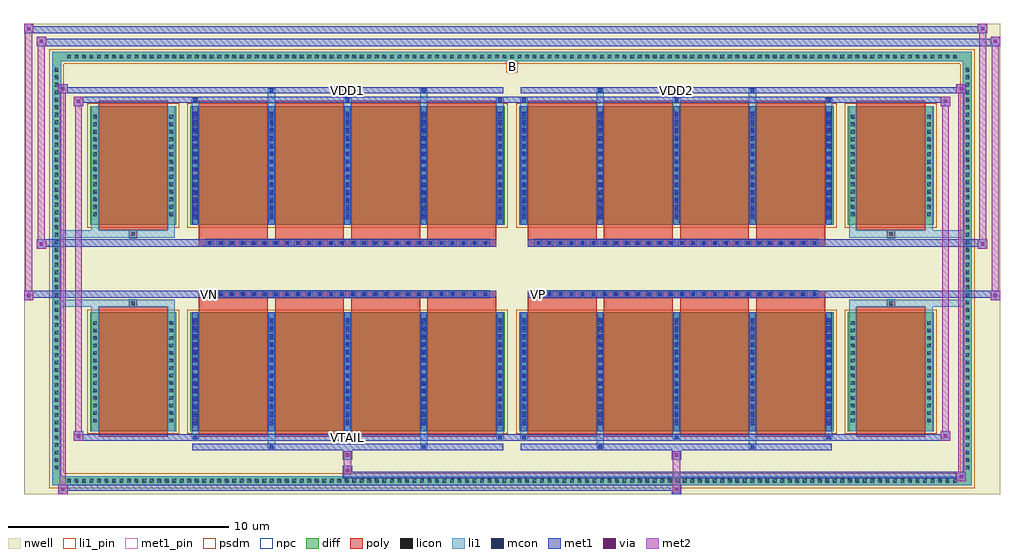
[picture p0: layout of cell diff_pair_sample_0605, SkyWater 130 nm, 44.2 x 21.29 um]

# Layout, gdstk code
import gdstk
lib = gdstk.Library(unit=1e-6, precision=5e-09)
def R(c, l, rs):  # rectangles x0, y0, x1, y1
    for r in rs: c.add(gdstk.rectangle(r[:2], r[2:], *l))
def A(c, l, x, y, w, h, nx, ny, dx, dy):  # array of equal rectangles
    R(c, l, [(x+i*dx, y+j*dy, x+i*dx+w, y+j*dy+h) for i in range(nx) for j in range(ny)])
def P(c, l, *ps):  # polygons
    for p in ps: c.add(gdstk.Polygon(p, *l))
nwell = (64, 20)
diff = (65, 20)
poly = (66, 20)
licon = (66, 44)
li1_pin = (67, 16)
li1 = (67, 20)
mcon = (67, 44)
met1_pin = (68, 16)
met1 = (68, 20)
via = (68, 44)
met2 = (69, 20)
psdm = (94, 20)
npc = (95, 20)

diff_pair_sample_0605 = lib.new_cell('diff_pair_sample_0605')
R(diff_pair_sample_0605, nwell, [(-22.1,-10.21,22.1,11.08), (-19.42,-8.4,-0.01,-0.8), (0.01,-8.4,19.42,-0.8), (-19.42,0.8,-0.01,8.4), (0.01,0.8,19.42,8.4)])
A(diff_pair_sample_0605, diff, -20.265, -9.81, 0.41, 0.41, 119, 2, 0.34, 19.21)
A(diff_pair_sample_0605, diff, -20.83, -9.215, 0.41, 0.41, 1, 54, 0, 0.34)
A(diff_pair_sample_0605, diff, 20.42, -9.215, 0.41, 0.41, 1, 54, 0, 0.34)
R(diff_pair_sample_0605, diff, [(-20.265,-9.81,20.265,-9.4), (-20.83,-9.215,-20.42,9.215), (20.42,-9.215,20.83,9.215), (-19.11,-7.355,-15.21,-1.985), (-14.57,-7.355,-0.32,-1.985), (0.32,-7.355,14.57,-1.985), (15.21,-7.355,19.11,-1.985), (-19.11,1.985,-15.21,7.355), (-14.57,1.985,-0.32,7.355), (0.32,1.985,14.57,7.355), (15.21,1.985,19.11,7.355), (-20.265,9.4,20.265,9.81)])
P(diff_pair_sample_0605, diff, [(20.83,9.81),(-20.83,9.81),(-20.83,-9.4),(-20.42,-9.4),(-20.42,9.4),(20.42,9.4),(20.42,-9.4),(-20.42,-9.4),(-20.83,-9.4),(-20.83,-9.81),(20.83,-9.81)])
A(diff_pair_sample_0605, poly, -14.18, -7.605, 3.12, 5.87, 4, 2, 3.45, 9.34)
A(diff_pair_sample_0605, poly, 0.71, -7.605, 3.12, 5.87, 4, 2, 3.45, 9.34)
A(diff_pair_sample_0605, poly, -14.18, -1.735, 3.12, 0.405, 4, 2, 3.45, 3.065)
A(diff_pair_sample_0605, poly, 0.71, -1.735, 3.12, 0.405, 4, 2, 3.45, 3.065)
A(diff_pair_sample_0605, poly, -13.86, -1.33, 0.33, 0.33, 26, 2, 0.5, 2.33)
A(diff_pair_sample_0605, poly, 1.03, -1.33, 0.33, 0.33, 26, 2, 0.5, 2.33)
R(diff_pair_sample_0605, poly, [(-18.72,-7.605,-15.6,-1.735), (15.6,-7.605,18.72,-1.735), (-17.325,-1.735,-16.995,-1.405), (-17.325,-1.735,-16.995,-1.405), (16.995,-1.735,17.325,-1.405), (16.995,-1.735,17.325,-1.405), (-14.18,-1.33,-0.71,-1), (0.71,-1.33,14.18,-1), (-14.18,1,-0.71,1.33), (0.71,1,14.18,1.33), (-17.325,1.405,-16.995,1.735), (-17.325,1.405,-16.995,1.735), (16.995,1.405,17.325,1.735), (16.995,1.405,17.325,1.735), (-18.72,1.735,-15.6,7.605), (15.6,1.735,18.72,7.605)])
A(diff_pair_sample_0605, licon, -20.145, -9.69, 0.17, 0.17, 119, 2, 0.34, 19.21)
A(diff_pair_sample_0605, licon, -20.71, -9.095, 0.17, 0.17, 1, 54, 0, 0.34)
A(diff_pair_sample_0605, licon, 20.54, -9.095, 0.17, 0.17, 1, 54, 0, 0.34)
A(diff_pair_sample_0605, licon, -18.97, -6.965, 0.17, 0.17, 1, 14, 0, 0.34)
A(diff_pair_sample_0605, licon, -15.52, -6.965, 0.17, 0.17, 1, 14, 0, 0.34)
A(diff_pair_sample_0605, licon, -14.43, -6.965, 0.17, 0.17, 5, 14, 3.45, 0.34)
A(diff_pair_sample_0605, licon, 0.46, -6.965, 0.17, 0.17, 5, 14, 3.45, 0.34)
A(diff_pair_sample_0605, licon, 15.35, -6.965, 0.17, 0.17, 1, 14, 0, 0.34)
A(diff_pair_sample_0605, licon, 18.8, -6.965, 0.17, 0.17, 1, 14, 0, 0.34)
A(diff_pair_sample_0605, licon, -13.78, -1.25, 0.17, 0.17, 26, 2, 0.5, 2.33)
A(diff_pair_sample_0605, licon, 1.11, -1.25, 0.17, 0.17, 26, 2, 0.5, 2.33)
A(diff_pair_sample_0605, licon, -18.97, 2.375, 0.17, 0.17, 1, 14, 0, 0.34)
A(diff_pair_sample_0605, licon, -15.52, 2.375, 0.17, 0.17, 1, 14, 0, 0.34)
A(diff_pair_sample_0605, licon, -14.43, 2.375, 0.17, 0.17, 5, 14, 3.45, 0.34)
A(diff_pair_sample_0605, licon, 0.46, 2.375, 0.17, 0.17, 5, 14, 3.45, 0.34)
A(diff_pair_sample_0605, licon, 15.35, 2.375, 0.17, 0.17, 1, 14, 0, 0.34)
A(diff_pair_sample_0605, licon, 18.8, 2.375, 0.17, 0.17, 1, 14, 0, 0.34)
R(diff_pair_sample_0605, licon, [(-17.245,-1.655,-17.075,-1.485), (17.075,-1.655,17.245,-1.485), (-17.245,1.485,-17.075,1.655), (17.075,1.485,17.245,1.655)])
R(diff_pair_sample_0605, li1_pin, [(-0.25,8.9,0.25,9.4)])
A(diff_pair_sample_0605, li1, -20.225, -9.77, 0.33, 0.33, 119, 2, 0.34, 19.21)
A(diff_pair_sample_0605, li1, -20.79, -9.175, 0.33, 0.33, 1, 54, 0, 0.34)
A(diff_pair_sample_0605, li1, 20.46, -9.175, 0.33, 0.33, 1, 54, 0, 0.34)
A(diff_pair_sample_0605, li1, -14.51, -7.73, 0.33, 0.375, 3, 2, 6.9, 15.085)
A(diff_pair_sample_0605, li1, -14.43, -7.73, 0.17, 0.17, 3, 2, 6.9, 15.29)
A(diff_pair_sample_0605, li1, 0.38, -7.73, 0.33, 0.375, 3, 2, 6.9, 15.085)
A(diff_pair_sample_0605, li1, 0.46, -7.73, 0.17, 0.17, 3, 2, 6.9, 15.29)
A(diff_pair_sample_0605, li1, -14.51, -7.355, 0.33, 5.37, 5, 2, 3.45, 9.34)
A(diff_pair_sample_0605, li1, 0.38, -7.355, 0.33, 5.37, 5, 2, 3.45, 9.34)
A(diff_pair_sample_0605, li1, -14.43, -7.095, 0.17, 0.17, 5, 14, 3.45, 0.36)
A(diff_pair_sample_0605, li1, -14.43, -7.095, 0.17, 4.85, 5, 2, 3.45, 9.34)
A(diff_pair_sample_0605, li1, 0.46, -7.095, 0.17, 0.17, 5, 14, 3.45, 0.36)
A(diff_pair_sample_0605, li1, 0.46, -7.095, 0.17, 4.85, 5, 2, 3.45, 9.34)
A(diff_pair_sample_0605, li1, -19.05, -7.045, 0.33, 0.33, 1, 14, 0, 0.34)
A(diff_pair_sample_0605, li1, -15.6, -7.045, 0.33, 0.33, 1, 14, 0, 0.34)
A(diff_pair_sample_0605, li1, -14.51, -7.045, 0.33, 0.33, 5, 14, 3.45, 0.34)
A(diff_pair_sample_0605, li1, 0.38, -7.045, 0.33, 0.33, 5, 14, 3.45, 0.34)
A(diff_pair_sample_0605, li1, 15.27, -7.045, 0.33, 0.33, 1, 14, 0, 0.34)
A(diff_pair_sample_0605, li1, 18.72, -7.045, 0.33, 0.33, 1, 14, 0, 0.34)
A(diff_pair_sample_0605, li1, -13.86, -1.33, 0.33, 0.33, 26, 2, 0.5, 2.33)
A(diff_pair_sample_0605, li1, 1.03, -1.33, 0.33, 0.33, 26, 2, 0.5, 2.33)
A(diff_pair_sample_0605, li1, -14.43, 2.245, 0.17, 0.17, 5, 14, 3.45, 0.36)
A(diff_pair_sample_0605, li1, 0.46, 2.245, 0.17, 0.17, 5, 14, 3.45, 0.36)
A(diff_pair_sample_0605, li1, -19.05, 2.295, 0.33, 0.33, 1, 14, 0, 0.34)
A(diff_pair_sample_0605, li1, -15.6, 2.295, 0.33, 0.33, 1, 14, 0, 0.34)
A(diff_pair_sample_0605, li1, -14.51, 2.295, 0.33, 0.33, 5, 14, 3.45, 0.34)
A(diff_pair_sample_0605, li1, 0.38, 2.295, 0.33, 0.33, 5, 14, 3.45, 0.34)
A(diff_pair_sample_0605, li1, 15.27, 2.295, 0.33, 0.33, 1, 14, 0, 0.34)
A(diff_pair_sample_0605, li1, 18.72, 2.295, 0.33, 0.33, 1, 14, 0, 0.34)
R(diff_pair_sample_0605, li1, [(-20.83,-9.81,-20.42,-9.4), (-20.83,-9.81,-20.42,-9.4), (-20.42,-9.81,20.42,-9.4), (20.42,-9.81,20.83,-9.4), (20.42,-9.81,20.83,-9.4), (-20.83,-9.4,-20.42,9.4), (20.42,-9.4,20.83,9.4), (-11.06,-8.16,-10.73,-7.355), (-10.98,-8.16,-10.81,-7.99), (-4.16,-8.16,-3.83,-7.355), (-4.08,-8.16,-3.91,-7.99), (3.83,-8.16,4.16,-7.355), (3.91,-8.16,4.08,-7.99), (10.73,-8.16,11.06,-7.355), (10.81,-8.16,10.98,-7.99), (-19.05,-7.355,-18.72,-1.985), (-15.6,-7.355,-15.27,-1.985), (15.27,-7.355,15.6,-1.985), (18.72,-7.355,19.05,-1.985), (-19.05,-1.985,-18.72,-1.405), (-15.6,-1.985,-15.27,-1.405), (15.27,-1.985,15.6,-1.405), (18.72,-1.985,19.05,-1.405), (-20.83,-1.735,-17.325,-1.405), (-19.05,-1.735,-17.325,-1.405), (-17.325,-1.735,-16.995,-1.405), (-16.995,-1.735,-15.27,-1.405), (15.27,-1.735,16.995,-1.405), (16.995,-1.735,17.325,-1.405), (16.995,-1.735,20.83,-1.405), (17.325,-1.735,19.05,-1.405), (-20.83,1.405,-17.325,1.735), (-19.05,1.405,-17.325,1.735), (-19.05,1.405,-18.72,1.985), (-17.325,1.405,-16.995,1.735), (-16.995,1.405,-15.27,1.735), (-15.6,1.405,-15.27,1.985), (15.27,1.405,16.995,1.735), (15.27,1.405,15.6,1.985), (16.995,1.405,17.325,1.735), (16.995,1.405,20.83,1.735), (17.325,1.405,19.05,1.735), (18.72,1.405,19.05,1.985), (-19.05,1.985,-18.72,7.355), (-15.6,1.985,-15.27,7.355), (15.27,1.985,15.6,7.355), (18.72,1.985,19.05,7.355), (-11.06,7.355,-10.73,8.16), (-4.16,7.355,-3.83,8.16), (3.83,7.355,4.16,8.16), (10.73,7.355,11.06,8.16), (-10.98,7.99,-10.81,8.16), (-4.08,7.99,-3.91,8.16), (3.91,7.99,4.08,8.16), (10.81,7.99,10.98,8.16), (-20.83,9.4,-20.42,9.81), (-20.83,9.4,-20.42,9.81), (-20.42,9.4,20.42,9.81), (20.42,9.4,20.83,9.81), (20.42,9.4,20.83,9.81)])
A(diff_pair_sample_0605, mcon, -14.43, -7.73, 0.17, 0.17, 3, 2, 6.9, 15.29)
A(diff_pair_sample_0605, mcon, 0.46, -7.73, 0.17, 0.17, 3, 2, 6.9, 15.29)
A(diff_pair_sample_0605, mcon, -14.43, -7.095, 0.17, 0.17, 5, 14, 3.45, 0.36)
A(diff_pair_sample_0605, mcon, 0.46, -7.095, 0.17, 0.17, 5, 14, 3.45, 0.36)
A(diff_pair_sample_0605, mcon, -13.78, -1.25, 0.17, 0.17, 26, 2, 0.5, 2.33)
A(diff_pair_sample_0605, mcon, 1.11, -1.25, 0.17, 0.17, 26, 2, 0.5, 2.33)
A(diff_pair_sample_0605, mcon, -14.43, 2.245, 0.17, 0.17, 5, 14, 3.45, 0.36)
A(diff_pair_sample_0605, mcon, 0.46, 2.245, 0.17, 0.17, 5, 14, 3.45, 0.36)
R(diff_pair_sample_0605, mcon, [(-10.98,-8.16,-10.81,-7.99), (-4.08,-8.16,-3.91,-7.99), (3.91,-8.16,4.08,-7.99), (10.81,-8.16,10.98,-7.99), (-10.98,7.99,-10.81,8.16), (-4.08,7.99,-3.91,8.16), (3.91,7.99,4.08,8.16), (10.81,7.99,10.98,8.16)])
R(diff_pair_sample_0605, met1_pin, [(-7.58,-7.77,-7.31,-7.5), (-13.83,-1.29,-13.56,-1.02), (1.06,-1.29,1.33,-1.02), (-7.58,7.95,-7.31,8.22), (7.31,7.95,7.58,8.22)])
A(diff_pair_sample_0605, met1, -14.49, -7.79, 0.29, 0.29, 3, 2, 6.9, 15.29)
A(diff_pair_sample_0605, met1, 0.4, -7.79, 0.29, 0.29, 3, 2, 6.9, 15.29)
A(diff_pair_sample_0605, met1, -14.49, -7.355, 0.29, 5.37, 5, 2, 3.45, 9.34)
A(diff_pair_sample_0605, met1, 0.4, -7.355, 0.29, 5.37, 5, 2, 3.45, 9.34)
A(diff_pair_sample_0605, met1, -14.49, -7.155, 0.29, 0.29, 5, 14, 3.45, 0.36)
A(diff_pair_sample_0605, met1, 0.4, -7.155, 0.29, 0.29, 5, 14, 3.45, 0.36)
A(diff_pair_sample_0605, met1, -13.84, -1.31, 0.29, 0.29, 26, 2, 0.5, 2.33)
A(diff_pair_sample_0605, met1, 1.05, -1.31, 0.29, 0.29, 26, 2, 0.5, 2.33)
A(diff_pair_sample_0605, met1, -14.49, 2.185, 0.29, 0.29, 5, 14, 3.45, 0.36)
A(diff_pair_sample_0605, met1, 0.4, 2.185, 0.29, 0.29, 5, 14, 3.45, 0.36)
R(diff_pair_sample_0605, met1, [(-20.56,-10.21,-20.13,-9.78), (7.23,-10.21,7.66,-9.78), (-20.56,-10.07,7.66,-9.78), (20.13,-9.64,20.56,-9.21), (-7.66,-9.5,20.56,-9.21), (-7.66,-9.36,-7.23,-8.93), (-7.66,-8.65,-7.23,-8.22), (7.23,-8.65,7.66,-8.22), (-14.49,-8.22,-0.4,-7.93), (-11.04,-8.22,-10.75,-7.93), (-4.14,-8.22,-3.85,-7.93), (0.4,-8.22,14.49,-7.93), (3.85,-8.22,4.14,-7.93), (10.75,-8.22,11.04,-7.93), (-19.85,-7.79,-19.42,-7.36), (-19.85,-7.79,-14.49,-7.5), (-14.49,-7.79,-0.4,-7.5), (-0.4,-7.79,0.4,-7.5), (0.4,-7.79,14.49,-7.5), (14.49,-7.79,19.85,-7.5), (19.42,-7.79,19.85,-7.36), (-22.1,-1.43,-21.67,-1), (21.67,-1.43,22.1,-1), (-22.1,-1.33,-0.71,-1), (-14.18,-1.33,-0.71,-1), (0.71,-1.33,14.18,-1), (0.71,-1.33,22.1,-1), (-21.53,0.9,-21.1,1.33), (21.1,0.9,21.53,1.33), (-21.53,1,-14.18,1.33), (-14.18,1,-0.71,1.33), (0.71,1,14.18,1.33), (14.18,1,21.53,1.33), (-19.85,7.36,-19.42,7.79), (19.42,7.36,19.85,7.79), (-19.85,7.5,-14.49,7.79), (-14.49,7.5,-0.4,7.79), (-0.4,7.5,0.4,7.79), (0.4,7.5,14.49,7.79), (14.49,7.5,19.85,7.79), (-20.56,7.93,-20.13,8.36), (-20.56,7.93,-14.49,8.22), (-14.49,7.93,-0.4,8.22), (-11.04,7.93,-10.75,8.22), (-4.14,7.93,-3.85,8.22), (0.4,7.93,14.49,8.22), (3.85,7.93,4.14,8.22), (10.75,7.93,11.04,8.22), (14.49,7.93,20.56,8.22), (20.13,7.93,20.56,8.36), (-21.53,10.08,-21.1,10.51), (-21.53,10.08,-19.42,10.41), (-19.42,10.08,19.42,10.41), (19.42,10.08,22.1,10.41), (21.67,10.08,22.1,10.51), (-22.1,10.65,-21.67,11.08), (-22.1,10.65,-19.42,10.98), (-19.42,10.65,19.42,10.98), (19.42,10.65,21.53,10.98), (21.1,10.65,21.53,11.08)])
R(diff_pair_sample_0605, via, [(-20.42,-10.07,-20.27,-9.92), (7.37,-10.07,7.52,-9.92), (20.27,-9.5,20.42,-9.35), (-7.52,-9.22,-7.37,-9.07), (-7.52,-8.51,-7.37,-8.36), (7.37,-8.51,7.52,-8.36), (-19.71,-7.65,-19.56,-7.5), (19.56,-7.65,19.71,-7.5), (-21.96,-1.29,-21.81,-1.14), (21.81,-1.29,21.96,-1.14), (-21.39,1.04,-21.24,1.19), (21.24,1.04,21.39,1.19), (-19.71,7.5,-19.56,7.65), (19.56,7.5,19.71,7.65), (-20.42,8.07,-20.27,8.22), (20.27,8.07,20.42,8.22), (-21.39,10.22,-21.24,10.37), (21.81,10.22,21.96,10.37), (-21.96,10.79,-21.81,10.94), (21.24,10.79,21.39,10.94)])
R(diff_pair_sample_0605, met2, [(-20.56,-10.21,-20.13,-9.78), (-20.49,-10.21,-20.2,8.36), (-20.2,-10.21,-20.13,-9.78), (-20.51,-10.16,-20.18,-9.83), (7.28,-10.16,7.61,-9.83), (7.28,-9.83,7.61,-8.6), (20.13,-9.64,20.56,-9.21), (20.2,-9.64,20.49,8.36), (20.49,-9.64,20.56,-9.21), (20.18,-9.59,20.51,-9.26), (-7.61,-9.31,-7.28,-8.98), (-7.61,-8.98,-7.28,-8.6), (-7.61,-8.6,-7.28,-8.27), (7.28,-8.6,7.61,-8.27), (-19.85,-7.79,-19.42,-7.36), (-19.78,-7.79,-19.49,7.79), (-19.49,-7.79,-19.42,-7.36), (19.42,-7.79,19.85,-7.36), (19.49,-7.79,19.78,7.79), (19.78,-7.79,19.85,-7.36), (-19.8,-7.74,-19.47,-7.41), (19.47,-7.74,19.8,-7.41), (-22.1,-1.43,-21.67,-1), (-22.05,-1.43,-21.72,11.08), (-21.72,-1.43,-21.67,-1), (21.67,-1.43,22.1,-1), (21.72,-1.43,22.05,10.51), (22.05,-1.43,22.1,-1), (-22.05,-1.38,-21.72,-1.05), (21.72,-1.38,22.05,-1.05), (-21.53,0.9,-21.1,1.33), (-21.48,0.9,-21.15,10.51), (-21.15,0.9,-21.1,1.33), (21.1,0.9,21.53,1.33), (21.15,0.9,21.48,11.08), (21.48,0.9,21.53,1.33), (-21.48,0.95,-21.15,1.28), (21.15,0.95,21.48,1.28), (-19.85,7.36,-19.42,7.79), (-19.49,7.36,-19.42,7.79), (19.42,7.36,19.85,7.79), (19.78,7.36,19.85,7.79), (-19.8,7.41,-19.47,7.74), (19.47,7.41,19.8,7.74), (-20.56,7.93,-20.13,8.36), (-20.2,7.93,-20.13,8.36), (20.13,7.93,20.56,8.36), (20.49,7.93,20.56,8.36), (-20.51,7.98,-20.18,8.31), (20.18,7.98,20.51,8.31), (-21.53,10.08,-21.1,10.51), (-21.15,10.08,-21.1,10.51), (21.67,10.08,22.1,10.51), (22.05,10.08,22.1,10.51), (-21.48,10.13,-21.15,10.46), (21.72,10.13,22.05,10.46), (-22.1,10.65,-21.67,11.08), (-21.72,10.65,-21.67,11.08), (21.1,10.65,21.53,11.08), (21.48,10.65,21.53,11.08), (-22.05,10.7,-21.72,11.03), (21.15,10.7,21.48,11.03)])
R(diff_pair_sample_0605, psdm, [(-19.24,-7.485,-15.08,-1.855), (-14.7,-7.485,-0.19,-1.855), (0.19,-7.485,14.7,-1.855), (15.08,-7.485,19.24,-1.855), (-19.24,1.855,-15.08,7.485), (-14.7,1.855,-0.19,7.485), (0.19,1.855,14.7,7.485), (15.08,1.855,19.24,7.485)])
P(diff_pair_sample_0605, psdm, [(20.96,9.94),(-20.96,9.94),(-20.96,-9.27),(-20.29,-9.27),(-20.29,9.27),(20.29,9.27),(20.29,-9.27),(-20.29,-9.27),(-20.96,-9.27),(-20.96,-9.94),(20.96,-9.94)])
A(diff_pair_sample_0605, npc, -13.88, -1.35, 0.37, 0.37, 26, 2, 0.5, 2.33)
A(diff_pair_sample_0605, npc, 1.01, -1.35, 0.37, 0.37, 26, 2, 0.5, 2.33)
R(diff_pair_sample_0605, npc, [(-17.345,-1.755,-16.975,-1.385), (16.975,-1.755,17.345,-1.385), (-13.88,-1.35,-13.01,-0.98), (-13.88,-1.35,-13.01,-0.98), (-13.38,-1.35,-12.51,-0.98), (-13.38,-1.35,-12.51,-0.98), (-12.88,-1.35,-12.01,-0.98), (-12.88,-1.35,-12.01,-0.98), (-12.38,-1.35,-11.51,-0.98), (-12.38,-1.35,-11.51,-0.98), (-11.88,-1.35,-11.01,-0.98), (-11.88,-1.35,-11.01,-0.98), (-11.38,-1.35,-10.51,-0.98), (-11.38,-1.35,-10.51,-0.98), (-10.88,-1.35,-10.01,-0.98), (-10.88,-1.35,-10.01,-0.98), (-10.38,-1.35,-9.51,-0.98), (-10.38,-1.35,-9.51,-0.98), (-9.88,-1.35,-9.01,-0.98), (-9.88,-1.35,-9.01,-0.98), (-9.38,-1.35,-8.51,-0.98), (-9.38,-1.35,-8.51,-0.98), (-8.88,-1.35,-8.01,-0.98), (-8.88,-1.35,-8.01,-0.98), (-8.38,-1.35,-7.51,-0.98), (-8.38,-1.35,-7.51,-0.98), (-7.88,-1.35,-7.01,-0.98), (-7.88,-1.35,-7.01,-0.98), (-7.38,-1.35,-6.51,-0.98), (-7.38,-1.35,-6.51,-0.98), (-6.88,-1.35,-6.01,-0.98), (-6.88,-1.35,-6.01,-0.98), (-6.38,-1.35,-5.51,-0.98), (-6.38,-1.35,-5.51,-0.98), (-5.88,-1.35,-5.01,-0.98), (-5.88,-1.35,-5.01,-0.98), (-5.38,-1.35,-4.51,-0.98), (-5.38,-1.35,-4.51,-0.98), (-4.88,-1.35,-4.01,-0.98), (-4.88,-1.35,-4.01,-0.98), (-4.38,-1.35,-3.51,-0.98), (-4.38,-1.35,-3.51,-0.98), (-3.88,-1.35,-3.01,-0.98), (-3.88,-1.35,-3.01,-0.98), (-3.38,-1.35,-2.51,-0.98), (-3.38,-1.35,-2.51,-0.98), (-2.88,-1.35,-2.01,-0.98), (-2.88,-1.35,-2.01,-0.98), (-2.38,-1.35,-1.51,-0.98), (-2.38,-1.35,-1.51,-0.98), (-1.88,-1.35,-1.01,-0.98), (-1.88,-1.35,-1.01,-0.98), (1.01,-1.35,1.88,-0.98), (1.01,-1.35,1.88,-0.98), (1.51,-1.35,2.38,-0.98), (1.51,-1.35,2.38,-0.98), (2.01,-1.35,2.88,-0.98), (2.01,-1.35,2.88,-0.98), (2.51,-1.35,3.38,-0.98), (2.51,-1.35,3.38,-0.98), (3.01,-1.35,3.88,-0.98), (3.01,-1.35,3.88,-0.98), (3.51,-1.35,4.38,-0.98), (3.51,-1.35,4.38,-0.98), (4.01,-1.35,4.88,-0.98), (4.01,-1.35,4.88,-0.98), (4.51,-1.35,5.38,-0.98), (4.51,-1.35,5.38,-0.98), (5.01,-1.35,5.88,-0.98), (5.01,-1.35,5.88,-0.98), (5.51,-1.35,6.38,-0.98), (5.51,-1.35,6.38,-0.98), (6.01,-1.35,6.88,-0.98), (6.01,-1.35,6.88,-0.98), (6.51,-1.35,7.38,-0.98), (6.51,-1.35,7.38,-0.98), (7.01,-1.35,7.88,-0.98), (7.01,-1.35,7.88,-0.98), (7.51,-1.35,8.38,-0.98), (7.51,-1.35,8.38,-0.98), (8.01,-1.35,8.88,-0.98), (8.01,-1.35,8.88,-0.98), (8.51,-1.35,9.38,-0.98), (8.51,-1.35,9.38,-0.98), (9.01,-1.35,9.88,-0.98), (9.01,-1.35,9.88,-0.98), (9.51,-1.35,10.38,-0.98), (9.51,-1.35,10.38,-0.98), (10.01,-1.35,10.88,-0.98), (10.01,-1.35,10.88,-0.98), (10.51,-1.35,11.38,-0.98), (10.51,-1.35,11.38,-0.98), (11.01,-1.35,11.88,-0.98), (11.01,-1.35,11.88,-0.98), (11.51,-1.35,12.38,-0.98), (11.51,-1.35,12.38,-0.98), (12.01,-1.35,12.88,-0.98), (12.01,-1.35,12.88,-0.98), (12.51,-1.35,13.38,-0.98), (12.51,-1.35,13.38,-0.98), (13.01,-1.35,13.88,-0.98), (13.01,-1.35,13.88,-0.98), (-13.88,0.98,-13.01,1.35), (-13.88,0.98,-13.01,1.35), (-13.38,0.98,-12.51,1.35), (-13.38,0.98,-12.51,1.35), (-12.88,0.98,-12.01,1.35), (-12.88,0.98,-12.01,1.35), (-12.38,0.98,-11.51,1.35), (-12.38,0.98,-11.51,1.35), (-11.88,0.98,-11.01,1.35), (-11.88,0.98,-11.01,1.35), (-11.38,0.98,-10.51,1.35), (-11.38,0.98,-10.51,1.35), (-10.88,0.98,-10.01,1.35), (-10.88,0.98,-10.01,1.35), (-10.38,0.98,-9.51,1.35), (-10.38,0.98,-9.51,1.35), (-9.88,0.98,-9.01,1.35), (-9.88,0.98,-9.01,1.35), (-9.38,0.98,-8.51,1.35), (-9.38,0.98,-8.51,1.35), (-8.88,0.98,-8.01,1.35), (-8.88,0.98,-8.01,1.35), (-8.38,0.98,-7.51,1.35), (-8.38,0.98,-7.51,1.35), (-7.88,0.98,-7.01,1.35), (-7.88,0.98,-7.01,1.35), (-7.38,0.98,-6.51,1.35), (-7.38,0.98,-6.51,1.35), (-6.88,0.98,-6.01,1.35), (-6.88,0.98,-6.01,1.35), (-6.38,0.98,-5.51,1.35), (-6.38,0.98,-5.51,1.35), (-5.88,0.98,-5.01,1.35), (-5.88,0.98,-5.01,1.35), (-5.38,0.98,-4.51,1.35), (-5.38,0.98,-4.51,1.35), (-4.88,0.98,-4.01,1.35), (-4.88,0.98,-4.01,1.35), (-4.38,0.98,-3.51,1.35), (-4.38,0.98,-3.51,1.35), (-3.88,0.98,-3.01,1.35), (-3.88,0.98,-3.01,1.35), (-3.38,0.98,-2.51,1.35), (-3.38,0.98,-2.51,1.35), (-2.88,0.98,-2.01,1.35), (-2.88,0.98,-2.01,1.35), (-2.38,0.98,-1.51,1.35), (-2.38,0.98,-1.51,1.35), (-1.88,0.98,-1.01,1.35), (-1.88,0.98,-1.01,1.35), (1.01,0.98,1.88,1.35), (1.01,0.98,1.88,1.35), (1.51,0.98,2.38,1.35), (1.51,0.98,2.38,1.35), (2.01,0.98,2.88,1.35), (2.01,0.98,2.88,1.35), (2.51,0.98,3.38,1.35), (2.51,0.98,3.38,1.35), (3.01,0.98,3.88,1.35), (3.01,0.98,3.88,1.35), (3.51,0.98,4.38,1.35), (3.51,0.98,4.38,1.35), (4.01,0.98,4.88,1.35), (4.01,0.98,4.88,1.35), (4.51,0.98,5.38,1.35), (4.51,0.98,5.38,1.35), (5.01,0.98,5.88,1.35), (5.01,0.98,5.88,1.35), (5.51,0.98,6.38,1.35), (5.51,0.98,6.38,1.35), (6.01,0.98,6.88,1.35), (6.01,0.98,6.88,1.35), (6.51,0.98,7.38,1.35), (6.51,0.98,7.38,1.35), (7.01,0.98,7.88,1.35), (7.01,0.98,7.88,1.35), (7.51,0.98,8.38,1.35), (7.51,0.98,8.38,1.35), (8.01,0.98,8.88,1.35), (8.01,0.98,8.88,1.35), (8.51,0.98,9.38,1.35), (8.51,0.98,9.38,1.35), (9.01,0.98,9.88,1.35), (9.01,0.98,9.88,1.35), (9.51,0.98,10.38,1.35), (9.51,0.98,10.38,1.35), (10.01,0.98,10.88,1.35), (10.01,0.98,10.88,1.35), (10.51,0.98,11.38,1.35), (10.51,0.98,11.38,1.35), (11.01,0.98,11.88,1.35), (11.01,0.98,11.88,1.35), (11.51,0.98,12.38,1.35), (11.51,0.98,12.38,1.35), (12.01,0.98,12.88,1.35), (12.01,0.98,12.88,1.35), (12.51,0.98,13.38,1.35), (12.51,0.98,13.38,1.35), (13.01,0.98,13.88,1.35), (13.01,0.98,13.88,1.35), (-17.345,1.385,-16.975,1.755), (16.975,1.385,17.345,1.755)])
diff_pair_sample_0605.add(gdstk.Label('VTAIL', (-7.445,-7.635), layer=68, texttype=5))
diff_pair_sample_0605.add(gdstk.Label('VN', (-13.695,-1.155), layer=68, texttype=5))
diff_pair_sample_0605.add(gdstk.Label('VP', (1.195,-1.155), layer=68, texttype=5))
diff_pair_sample_0605.add(gdstk.Label('B', (0,9.15), layer=67, texttype=5))
diff_pair_sample_0605.add(gdstk.Label('VDD2', (7.445,8.085), layer=68, texttype=5))
diff_pair_sample_0605.add(gdstk.Label('VDD1', (-7.445,8.085), layer=68, texttype=5))

lib.write_gds('diff_pair_sample_0605.gds')
